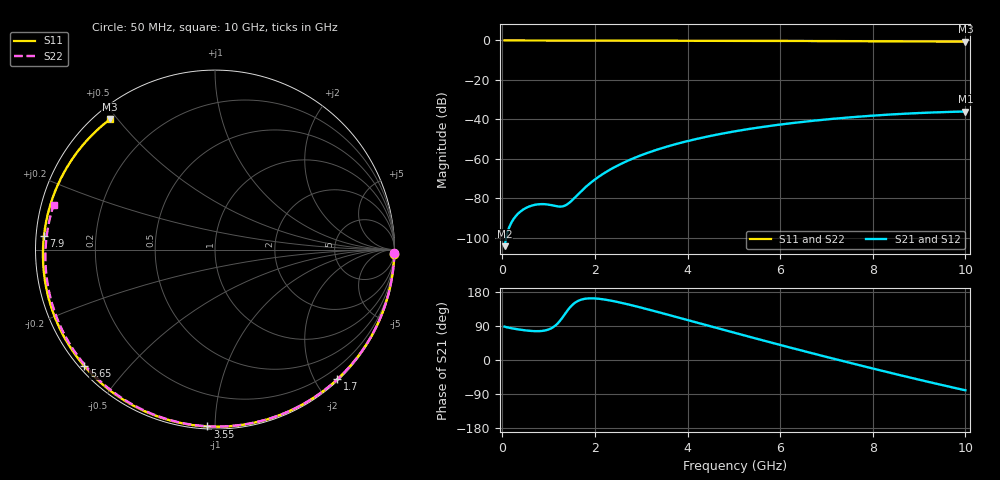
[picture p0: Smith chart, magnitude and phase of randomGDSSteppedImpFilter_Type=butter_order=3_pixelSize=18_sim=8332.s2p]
! freq	dB(S11)	phase(S11)	dB(S12)	phase(S12)
!  dB(S21)	phase(S21)	dB(S22)	phase(S22)
!S-par simulation data
#  GHz  S  DB  R 50
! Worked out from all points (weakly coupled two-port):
!   200 points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, 50 MHz to 10 GHz, reference 50 ohm
!   highest |S21| = -35.98 dB at 10 GHz (marker M1); lowest = -104.2 dB at 50 MHz (marker M2)
!   lowest |S11| = -0.6 dB at 10 GHz (marker M3), VSWR 28.65, Z = 2.14 + j23.8 ohm
!   |S11| at or under -10 dB: nowhere
!   |S22| runs from -0.6 to 0.0 dB; largest |S21 - S12| = 0
!   S11 on the Smith chart (normalised r, x): 50 MHz: 1, -84; 1.7 GHz: 0.02, -2.32; 3.55 GHz: 0.01, -0.96; 5.65 GHz: 0.01, -0.38; 7.9 GHz: 0.02, +0.04; 10 GHz: 0.04, +0.48
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0.05  -0.00 -1.4  -104.16 88.0  -104.16 88.0  -0.00 -1.1
0.4  -0.02 -11.2  -86.48 79.8  -86.48 79.8  -0.01 -9.2
0.75  -0.03 -20.9  -83.04 76.0  -83.04 76.0  -0.02 -17.2
1.15  -0.04 -31.9  -83.83 91.2  -83.83 91.2  -0.03 -26.2
1.55  -0.05 -42.6  -79.94 149.3  -79.94 149.3  -0.04 -35.2
1.7  -0.06 -46.6  -76.41 159.0  -76.41 159.0  -0.05 -38.5
1.75  -0.06 -47.9  -75.29 160.7  -75.29 160.7  -0.05 -39.6
2.05  -0.07 -55.7  -69.54 162.0  -69.54 162.0  -0.06 -46.1
2.45  -0.08 -65.9  -63.83 154.1  -63.83 154.1  -0.07 -54.7
2.9  -0.10 -77.0  -59.01 141.2  -59.01 141.2  -0.08 -64.1
3.4  -0.11 -89.0  -54.86 125.3  -54.86 125.3  -0.10 -74.4
3.55  -0.12 -92.5  -53.79 120.4  -53.79 120.4  -0.10 -77.4
4.25  -0.15 -108.4  -49.57 97.2  -49.57 97.2  -0.13 -91.1
5.05  -0.18 -125.7  -45.89 70.6  -45.89 70.6  -0.16 -106.2
5.65  -0.22 -138.3  -43.70 51.0  -43.70 51.0  -0.19 -117.2
6.2  -0.25 -149.6  -42.01 33.3  -42.01 33.3  -0.23 -127.0
6.7  -0.29 -159.8  -40.69 17.5  -40.69 17.5  -0.26 -135.9
7.3  -0.34 -172.1  -39.35 -1.2  -39.35 -1.2  -0.31 -146.4
7.9  -0.39 175.5  -38.23 -19.5  -38.23 -19.5  -0.36 -156.9
8.35  -0.43 166.0  -37.54 -33.0  -37.54 -33.0  -0.41 -164.9
9.15  -0.52 148.6  -36.59 -56.3  -36.59 -56.3  -0.50 -179.4
10  -0.61 129.0  -35.98 -79.9  -35.98 -79.9  -0.60 164.5
